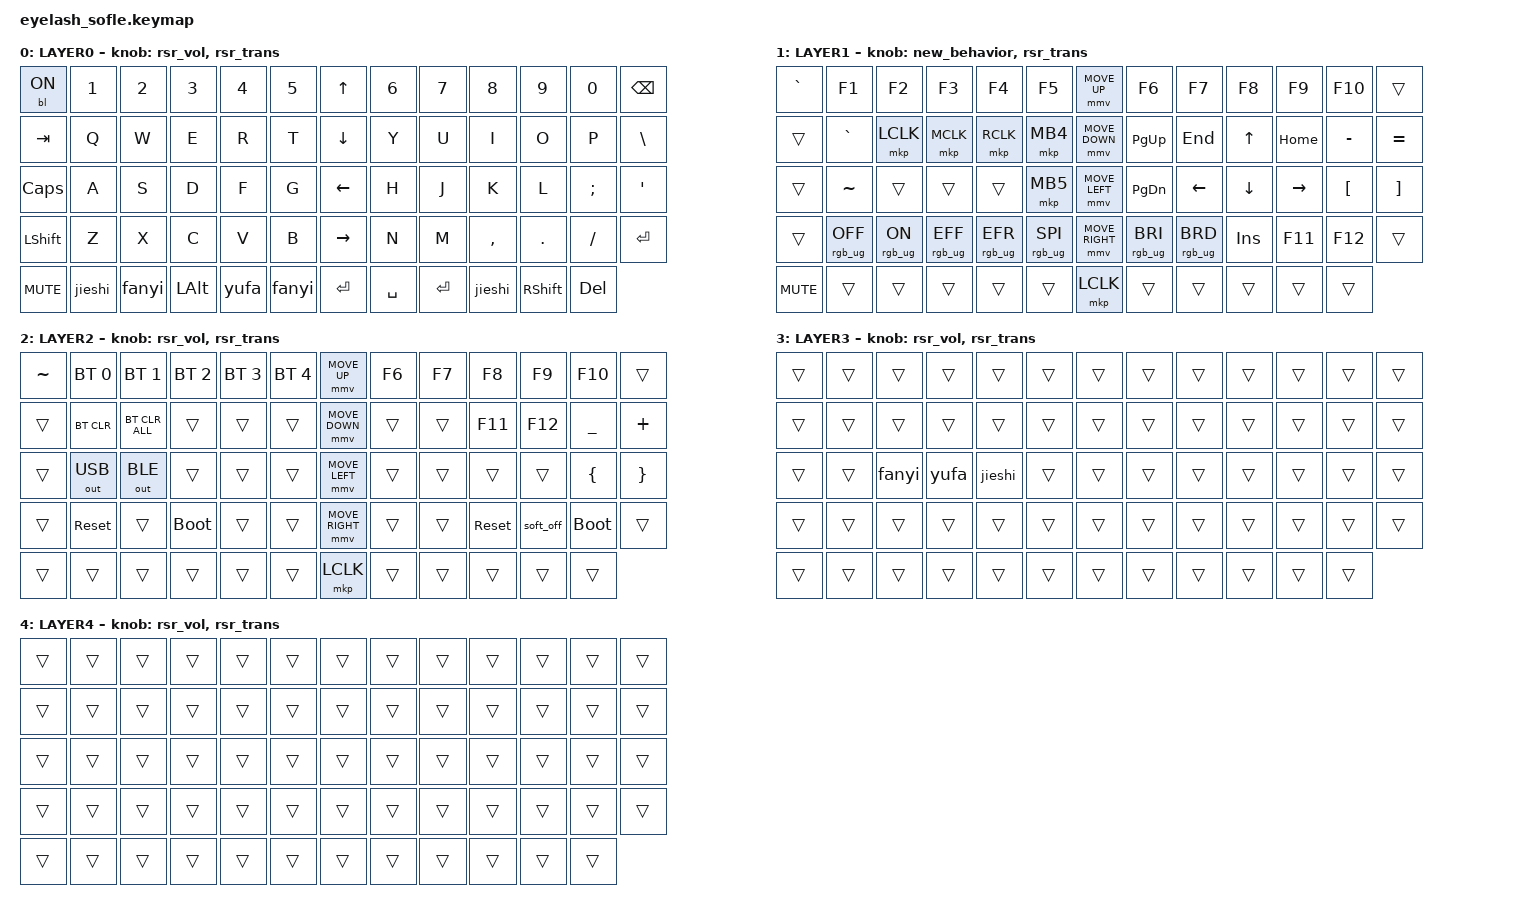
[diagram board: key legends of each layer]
#define ZMK_POINTING_DEFAULT_MOVE_VAL 1200  // 600
#define ZMK_POINTING_DEFAULT_SCRL_VAL 25   // 10

#include <input/processors.dtsi>
#include <zephyr/dt-bindings/input/input-event-codes.h>
#include <behaviors/runtime-sensor-rotate.dtsi>
#include <behaviors.dtsi>
#include <dt-bindings/zmk/backlight.h>
#include <dt-bindings/zmk/bt.h>
#include <dt-bindings/zmk/keys.h>
#include <dt-bindings/zmk/outputs.h>
#include <dt-bindings/zmk/pointing.h>
#include <dt-bindings/zmk/rgb.h>

&mmv_input_listener { input-processors = <&zip_xy_scaler 2 1>; };

&msc_input_listener { input-processors = <&zip_scroll_scaler 2 1>; };

&msc {
    acceleration-exponent = <1>;      // 0
    time-to-max-speed-ms = <100>;       // 300
    delay-ms = <0>;                   // 0
};

&mmv {
    time-to-max-speed-ms = <500>;
    acceleration-exponent = <1>;
    trigger-period-ms = <16>;
};

&soft_off { hold-time-ms = <2000>; };

/ {
    scroll_encoder: scroll_encoder {
        compatible = "zmk,behavior-sensor-rotate";
        #sensor-binding-cells = <0>;
        bindings = <&msc SCRL_DOWN>, <&msc SCRL_UP>;

        tap-ms = <100>;
    };

    behaviors {
        rsr_vol: rsr_vol {
            compatible = "zmk,behavior-runtime-sensor-rotate";
            #sensor-binding-cells = <0>;
            tap-ms = <5>;
            cw-binding = <&kp C_VOL_UP>;
            ccw-binding = <&kp C_VOL_DN>;
        };

        rsr_trans: rsr_trans {
            compatible = "zmk,behavior-runtime-sensor-rotate";
            #sensor-binding-cells = <0>;
            tap-ms = <0>;
        };

        new_behavior: new_behavior {
            compatible = "zmk,behavior-sensor-rotate";
            label = "NEW_BEHAVIOR";
            #sensor-binding-cells = <0>;
            bindings = <&msc SCRL_UP>, <&msc SCRL_DOWN>;
        };
    };

    combos {
        compatible = "zmk,combos";

        softoff {
            bindings = <&soft_off>;
            key-positions = <14 28 40>;
        };
    };

    macros {
        SHIFT_MCLK: SHIFT_MCLK {
            compatible = "zmk,behavior-macro";
            #binding-cells = <0>;
            bindings =
                <&macro_press>,
                <&kp LEFT_SHIFT>,
                <&macro_press>,
                <&mkp MB3>,
                <&macro_pause_for_release>,
                <&macro_release>,
                <&kp LEFT_SHIFT &mkp MB3>;

            label = "SHIFT_MCLK";
        };

        jieshi: jieshi {
            compatible = "zmk,behavior-macro";
            #binding-cells = <0>;
            bindings = <&kp J &kp I &kp E &kp E &kp S &kp H &kp I &kp SPACE &kp RS(SEMICOLON) &kp LC(V)>;
            label = "JIESHI";
        };

        fanyi: fanyi {
            compatible = "zmk,behavior-macro";
            #binding-cells = <0>;
            bindings = <&kp F &kp A &kp N &kp Y &kp I &kp W &kp E &kp I &kp Z &kp H &kp O &kp N &kp G &kp W &kp E &kp N &kp SPACE &kp RS(SEMICOLON) &kp LC(V)>;
            label = "FANYI";
        };

        yufa: yufa {
            compatible = "zmk,behavior-macro";
            #binding-cells = <0>;
            bindings = <&kp J &kp I &kp E &kp S &kp H &kp I &kp Y &kp U &kp F &kp A &kp J &kp I &kp E &kp G &kp O &kp U &kp SPACE &kp LS(SEMICOLON) &kp LC(V)>;
            label = "YUFA";
        };
    };

    keymap {
        compatible = "zmk,keymap";

        layer0 {
            bindings = <
&bl BL_ON   &kp N1   &kp N2  &kp N3        &kp N4  &kp N5    &kp UP_ARROW     &kp N6     &kp N7     &kp N8     &kp N9           &kp N0      &kp BACKSPACE
&kp TAB     &kp Q    &kp W   &kp E         &kp R   &kp T     &kp DOWN_ARROW   &kp Y      &kp U      &kp I      &kp O            &kp P       &kp BSLH
&kp CAPS    &kp A    &kp S   &kp D         &kp F   &kp G     &kp LEFT_ARROW   &kp H      &kp J      &kp K      &kp L            &kp SEMI    &kp APOS
&kp LSHFT   &kp Z    &kp X   &kp C         &kp V   &kp B     &kp RIGHT_ARROW  &kp N      &kp M      &kp COMMA  &kp DOT          &kp FSLH    &kp ENTER
&kp C_MUTE  &jieshi  &fanyi  &kp LEFT_ALT  &yufa   &fanyi    &kp ENTER        &kp SPACE  &kp ENTER  &jieshi    &kp RIGHT_SHIFT  &kp DELETE
            >;

            sensor-bindings = <&rsr_vol &rsr_trans>;
            display-name = "LAYER0";
        };

        layer_1 {
            bindings = <
&kp GRAVE   &kp F1           &kp F2          &kp F3           &kp F4           &kp F5             &mmv MOVE_UP     &kp F6           &kp F7           &kp F8      &kp F9     &kp F10           &trans
&trans      &kp GRAVE        &mkp LCLK       &mkp MCLK        &mkp RCLK        &mkp MB4           &mmv MOVE_DOWN   &kp PG_UP        &kp END          &kp UP      &kp HOME   &kp MINUS         &kp EQUAL
&trans      &kp TILDE        &trans          &trans           &trans           &mkp MB5           &mmv MOVE_LEFT   &kp PG_DN        &kp LEFT         &kp DOWN    &kp RIGHT  &kp LEFT_BRACKET  &kp RIGHT_BRACKET
&trans      &rgb_ug RGB_OFF  &rgb_ug RGB_ON  &rgb_ug RGB_EFF  &rgb_ug RGB_EFR  &rgb_ug RGB_SPI    &mmv MOVE_RIGHT  &rgb_ug RGB_BRI  &rgb_ug RGB_BRD  &kp INSERT  &kp F11    &kp F12           &trans
&kp C_MUTE  &trans           &trans          &trans           &trans           &trans             &mkp LCLK        &trans           &trans           &trans      &trans     &trans
            >;

            sensor-bindings = <&new_behavior>, <&rsr_trans>;

            display-name = "LAYER1";
        };

        layer_2 {
            bindings = <
&kp TILDE  &bt BT_SEL 0  &bt BT_SEL 1    &bt BT_SEL 2  &bt BT_SEL 3  &bt BT_SEL 4    &mmv MOVE_UP     &kp F6  &kp F7  &kp F8      &kp F9     &kp F10      &trans
&trans     &bt BT_CLR    &bt BT_CLR_ALL  &trans        &trans        &trans          &mmv MOVE_DOWN   &trans  &trans  &kp F11     &kp F12    &kp UNDER    &kp PLUS
&trans     &out OUT_USB  &out OUT_BLE    &trans        &trans        &trans          &mmv MOVE_LEFT   &trans  &trans  &trans      &trans     &kp LBRC     &kp RBRC
&trans     &sys_reset    &trans          &bootloader   &trans        &trans          &mmv MOVE_RIGHT  &trans  &trans  &sys_reset  &soft_off  &bootloader  &trans
&trans     &trans        &trans          &trans        &trans        &trans          &mkp LCLK        &trans  &trans  &trans      &trans     &trans
            >;

            display-name = "LAYER2";
            sensor-bindings = <&rsr_vol &rsr_trans>;
        };

        layer_3 {
            bindings = <
&trans  &trans  &trans  &trans  &trans   &trans    &trans  &trans  &trans  &trans  &trans  &trans  &trans
&trans  &trans  &trans  &trans  &trans   &trans    &trans  &trans  &trans  &trans  &trans  &trans  &trans
&trans  &trans  &fanyi  &yufa   &jieshi  &trans    &trans  &trans  &trans  &trans  &trans  &trans  &trans
&trans  &trans  &trans  &trans  &trans   &trans    &trans  &trans  &trans  &trans  &trans  &trans  &trans
&trans  &trans  &trans  &trans  &trans   &trans    &trans  &trans  &trans  &trans  &trans  &trans
            >;

            display-name = "LAYER3";
            sensor-bindings = <&rsr_vol &rsr_trans>;
        };

        layer_4 {
            bindings = <
&trans  &trans  &trans  &trans  &trans  &trans    &trans  &trans  &trans  &trans  &trans  &trans  &trans
&trans  &trans  &trans  &trans  &trans  &trans    &trans  &trans  &trans  &trans  &trans  &trans  &trans
&trans  &trans  &trans  &trans  &trans  &trans    &trans  &trans  &trans  &trans  &trans  &trans  &trans
&trans  &trans  &trans  &trans  &trans  &trans    &trans  &trans  &trans  &trans  &trans  &trans  &trans
&trans  &trans  &trans  &trans  &trans  &trans    &trans  &trans  &trans  &trans  &trans  &trans
            >;

            display-name = "LAYER4";
            sensor-bindings = <&rsr_vol &rsr_trans>;
        };
    };
};
